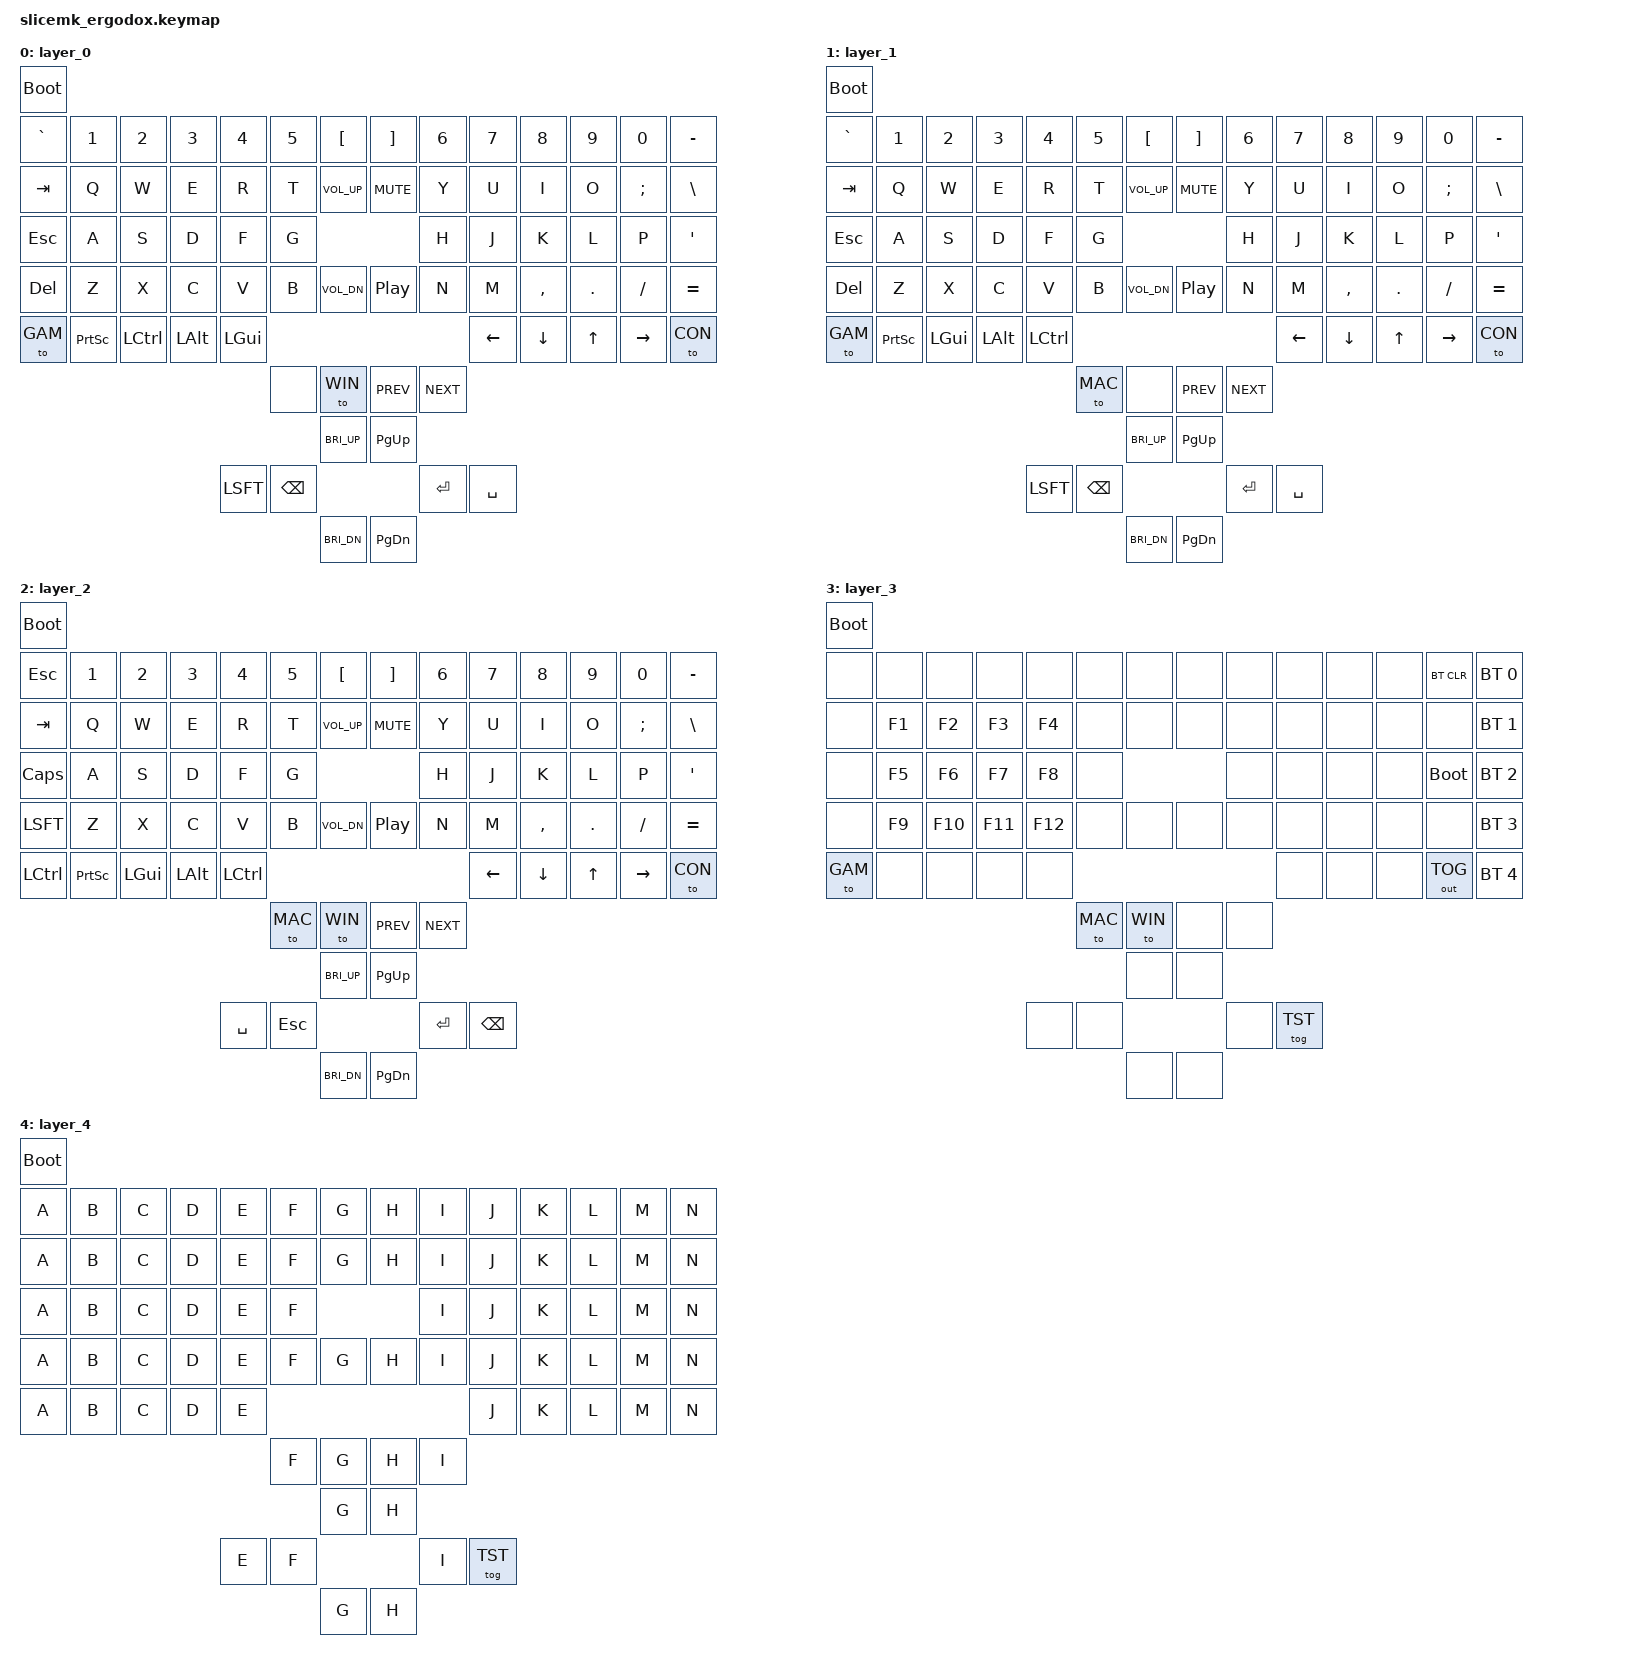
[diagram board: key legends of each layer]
#include <behaviors.dtsi>
#include <dt-bindings/zmk/bt.h>
#include <dt-bindings/zmk/keys.h>
#include <dt-bindings/zmk/outputs.h>

#define MAC 0
#define WIN 1
#define GAM 2
#define CON 3
#define TST 4

/ {
        keymap {
                compatible = "zmk,keymap";

                layer_0 {
                        bindings = <
    &bootloader
    &kp GRAV   &kp NUM_1  &kp NUM_2  &kp NUM_3  &kp NUM_4  &kp NUM_5  &kp LBKT       &kp RBKT   &kp NUM_6  &kp NUM_7  &kp NUM_8  &kp NUM_9  &kp NUM_0  &kp MINUS
    &kp TAB    &kp Q      &kp W      &kp E      &kp R      &kp T      &kp C_VOL_UP   &kp C_MUTE &kp Y      &kp U      &kp I      &kp O      &kp SCLN   &kp BSLH
    &kp ESC    &kp A      &kp S      &kp D      &kp F      &kp G                                &kp H      &kp J      &kp K      &kp L      &kp P      &kp APOS
    &kp DEL    &kp Z      &kp X      &kp C      &kp V      &kp B      &kp C_VOL_DN   &kp C_PP   &kp N      &kp M      &kp COMMA  &kp DOT    &kp FSLH   &kp EQUAL
    &to GAM    &kp PSCRN  &kp LCTRL  &kp LALT   &kp LGUI                                                   &kp LEFT   &kp DOWN   &kp UP     &kp RIGHT  &to CON
                                                           &none      &to WIN        &kp C_PREV &kp C_NEXT
                                                                      &kp C_BRI_UP   &kp PG_UP
                                                &kp LSFT   &kp BSPC                             &kp RETURN &kp SPACE
                                                                      &kp C_BRI_DN   &kp PG_DN
                        >;
                };

                layer_1 {
                        bindings = <
    &bootloader
    &kp GRAV   &kp NUM_1  &kp NUM_2  &kp NUM_3  &kp NUM_4  &kp NUM_5  &kp LBKT       &kp RBKT   &kp NUM_6  &kp NUM_7  &kp NUM_8  &kp NUM_9  &kp NUM_0  &kp MINUS
    &kp TAB    &kp Q      &kp W      &kp E      &kp R      &kp T      &kp C_VOL_UP   &kp C_MUTE &kp Y      &kp U      &kp I      &kp O      &kp SCLN   &kp BSLH
    &kp ESC    &kp A      &kp S      &kp D      &kp F      &kp G                                &kp H      &kp J      &kp K      &kp L      &kp P      &kp APOS
    &kp DEL    &kp Z      &kp X      &kp C      &kp V      &kp B      &kp C_VOL_DN   &kp C_PP   &kp N      &kp M      &kp COMMA  &kp DOT    &kp FSLH   &kp EQUAL
    &to GAM    &kp PSCRN  &kp LGUI   &kp LALT   &kp LCTRL                                                  &kp LEFT   &kp DOWN   &kp UP     &kp RIGHT  &to CON
                                                           &to MAC    &none          &kp C_PREV &kp C_NEXT
                                                                      &kp C_BRI_UP   &kp PG_UP
                                                &kp LSFT   &kp BSPC                             &kp RETURN &kp SPACE
                                                                      &kp C_BRI_DN   &kp PG_DN
                        >;
                };

                layer_2 {
                        bindings = <
    &bootloader
    &kp ESC    &kp NUM_1  &kp NUM_2  &kp NUM_3  &kp NUM_4  &kp NUM_5  &kp LBKT       &kp RBKT   &kp NUM_6  &kp NUM_7  &kp NUM_8  &kp NUM_9  &kp NUM_0  &kp MINUS
    &kp TAB    &kp Q      &kp W      &kp E      &kp R      &kp T      &kp C_VOL_UP   &kp C_MUTE &kp Y      &kp U      &kp I      &kp O      &kp SCLN   &kp BSLH
    &kp CAPS   &kp A      &kp S      &kp D      &kp F      &kp G                                &kp H      &kp J      &kp K      &kp L      &kp P      &kp APOS
    &kp LSFT   &kp Z      &kp X      &kp C      &kp V      &kp B      &kp C_VOL_DN   &kp C_PP   &kp N      &kp M      &kp COMMA  &kp DOT    &kp FSLH   &kp EQUAL
    &kp LCTRL  &kp PSCRN  &kp LGUI   &kp LALT   &kp LCTRL                                                  &kp LEFT   &kp DOWN   &kp UP     &kp RIGHT  &to CON
                                                           &to MAC    &to WIN        &kp C_PREV &kp C_NEXT
                                                                      &kp C_BRI_UP   &kp PG_UP
                                                &kp SPACE  &kp ESC                              &kp RETURN &kp BSPC
                                                                      &kp C_BRI_DN   &kp PG_DN
                        >;
                };

                layer_3 {
                        bindings = <
    &bootloader
    &none      &none      &none      &none      &none      &none      &none      &none      &none      &none      &none      &none      &bt BT_CLR   &bt BT_SEL 0
    &none      &kp F1     &kp F2     &kp F3     &kp F4     &none      &none      &none      &none      &none      &none      &none      &none        &bt BT_SEL 1
    &none      &kp F5     &kp F6     &kp F7     &kp F8     &none                            &none      &none      &none      &none      &bootloader  &bt BT_SEL 2
    &none      &kp F9     &kp F10    &kp F11    &kp F12    &none      &none      &none      &none      &none      &none      &none      &none        &bt BT_SEL 3
    &to GAM    &none      &none      &none      &none                                                  &none      &none      &none      &out OUT_TOG &bt BT_SEL 4
                                                           &to MAC    &to WIN    &none      &none 
                                                                      &none      &none 
                                                &none      &none                            &none      &tog TST 
                                                                      &none      &none 
                        >;
                };

                layer_4 {
                        bindings = <
    &bootloader
    &kp A    &kp B    &kp C    &kp D    &kp E    &kp F    &kp G    &kp H    &kp I    &kp J    &kp K    &kp L    &kp M    &kp N
    &kp A    &kp B    &kp C    &kp D    &kp E    &kp F    &kp G    &kp H    &kp I    &kp J    &kp K    &kp L    &kp M    &kp N
    &kp A    &kp B    &kp C    &kp D    &kp E    &kp F                      &kp I    &kp J    &kp K    &kp L    &kp M    &kp N
    &kp A    &kp B    &kp C    &kp D    &kp E    &kp F    &kp G    &kp H    &kp I    &kp J    &kp K    &kp L    &kp M    &kp N
    &kp A    &kp B    &kp C    &kp D    &kp E                                        &kp J    &kp K    &kp L    &kp M    &kp N
                                                 &kp F    &kp G    &kp H    &kp I 
                                                          &kp G    &kp H 
                                        &kp E    &kp F                      &kp I    &tog TST 
                                                          &kp G    &kp H 
                        >;
                };

        };
};
